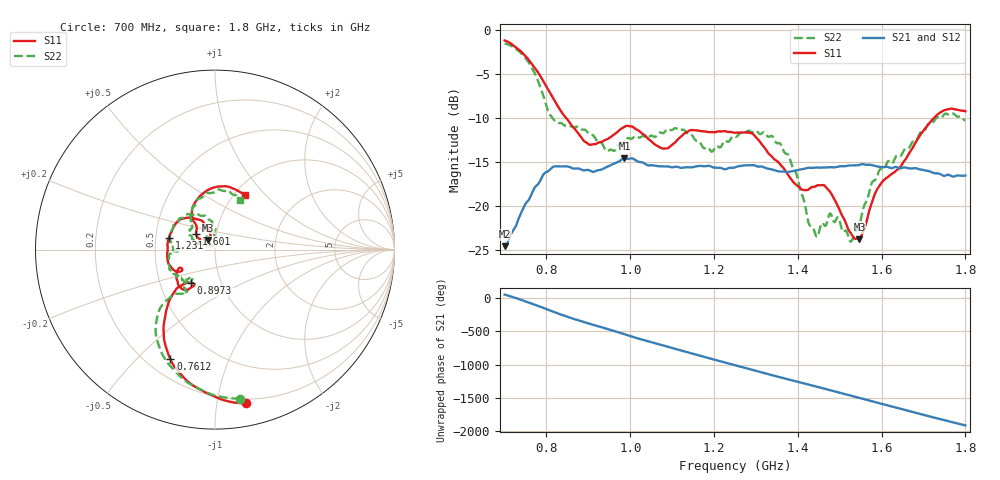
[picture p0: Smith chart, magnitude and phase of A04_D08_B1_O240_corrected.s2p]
! Created with skrf 1.9.0 (http://scikit-rf.org).
# Hz S RI R 50.0
!freq ReS11 ImS11 ReS21 ImS21 ReS12 ImS12 ReS22 ImS22
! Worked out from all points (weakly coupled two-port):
!   1601 points, 700 MHz to 1.8 GHz, reference 50 ohm
!   highest |S21| = -14.55 dB at 986 MHz (marker M1); lowest = -24.5 dB at 700.7 MHz (marker M2)
!   lowest |S11| = -23.7 dB at 1.547 GHz (marker M3), VSWR 1.14, Z = 46.1 + j4.91 ohm
!   |S11| at or under -10 dB: 847.7 MHz to 1.724 GHz (876.7 MHz wide, 68.2 % of centre)
!   |S22| runs from -24.0 to -1.5 dB; largest |S21 - S12| = 0.0037
!   S11 on the Smith chart (normalised r, x): 700 MHz: 0.17, -1.21; 761.2 MHz: 0.29, -0.63; 897.3 MHz: 0.72, -0.28; 1.231 GHz: 0.59, +0.08; 1.601 GHz: 0.80, +0.14; 1.8 GHz: 1.12, +0.77
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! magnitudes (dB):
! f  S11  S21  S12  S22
! 700 MHz  -1.2  -24.5  -24.3  -1.5
! 700.7 MHz  -1.2  -24.5  -24.2  -1.5
! 761.2 MHz  -3.6  -19.0  -18.9  -3.9
! 814.8 MHz  -7.6  -15.5  -15.6  -10.0
! 883.6 MHz  -12.2  -15.8  -15.7  -11.3
! 897.3 MHz  -12.8  -15.9  -16.0  -11.6
! 944.8 MHz  -12.4  -15.5  -15.5  -13.8
! 986 MHz  -11.0  -14.5  -14.6  -12.7
! 1.067 GHz  -13.2  -15.4  -15.4  -11.7
! 1.231 GHz  -11.5  -15.7  -15.7  -12.7
! 1.25 GHz  -11.7  -15.6  -15.5  -12.1
! 1.292 GHz  -11.8  -15.3  -15.4  -11.6
! 1.358 GHz  -15.3  -16.1  -16.0  -12.9
! 1.395 GHz  -17.5  -15.9  -15.9  -16.1
! 1.434 GHz  -17.8  -15.6  -15.6  -22.3
! 1.469 GHz  -18.0  -15.6  -15.6  -21.9
! 1.526 GHz  -23.0  -15.4  -15.4  -24.0
! 1.547 GHz  -23.7  -15.3  -15.3  -22.2
! 1.601 GHz  -17.2  -15.6  -15.5  -15.8
! 1.617 GHz  -16.6  -15.6  -15.5  -14.9
! 1.733 GHz  -9.6  -16.3  -16.3  -9.9
! 1.8 GHz  -9.2  -16.5  -16.5  -10.2
